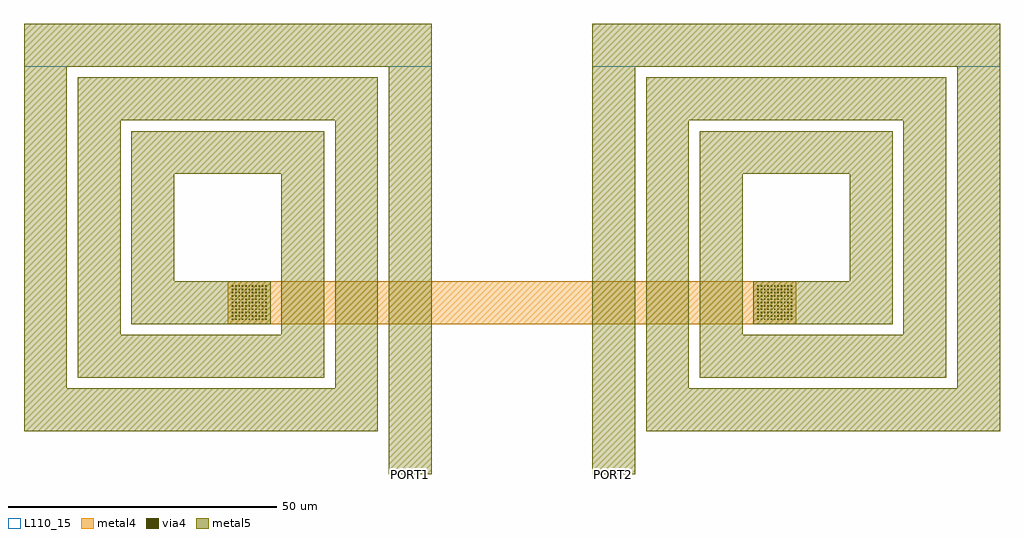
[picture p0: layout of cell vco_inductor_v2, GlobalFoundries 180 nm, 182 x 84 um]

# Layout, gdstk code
import gdstk
lib = gdstk.Library(unit=1e-6, precision=1e-09)
def R(c, l, rs):  # rectangles x0, y0, x1, y1
    for r in rs: c.add(gdstk.rectangle(r[:2], r[2:], *l))
def A(c, l, x, y, w, h, nx, ny, dx, dy):  # array of equal rectangles
    R(c, l, [(x+i*dx, y+j*dy, x+i*dx+w, y+j*dy+h) for i in range(nx) for j in range(ny)])
via4 = (41, 0)
metal4 = (46, 0)
metal5 = (81, 0)
L110_15 = (110, 15)

vco_inductor_v2 = lib.new_cell('vco_inductor_v2')
A(vco_inductor_v2, via4, -73.23, 4.77, 0.26, 0.26, 11, 11, 0.62, 0.62)
A(vco_inductor_v2, via4, 24.77, 4.77, 0.26, 0.26, 11, 11, 0.62, 0.62)
R(vco_inductor_v2, metal4, [(-74,4,32,12)])
R(vco_inductor_v2, metal5, [(-44,-24,-36,52), (-6,-24,2,52), (-112,-16,-46,-8), (4,-16,70,-8), (-112,-8,-104,52), (-54,-8,-46,42), (4,-8,12,42), (62,-8,70,52), (-102,-6,-56,2), (14,-6,60,2), (-102,2,-94,42), (-64,2,-56,32), (14,2,22,32), (52,2,60,42), (-92,4,-66,12), (24,4,50,12), (-92,12,-84,32), (42,12,50,32), (-92,32,-56,40), (14,32,50,40), (-102,42,-46,50), (4,42,60,50), (-112,52,-36,60), (-6,52,70,60)])
R(vco_inductor_v2, L110_15, [(-112,52,-36,60), (-6,52,70,60)])
vco_inductor_v2.add(gdstk.Label('PORT1', (-40,-24), layer=81, texttype=10))
vco_inductor_v2.add(gdstk.Label('PORT2', (-2,-24), layer=81, texttype=10))

lib.write_gds('vco_inductor_v2.gds')
